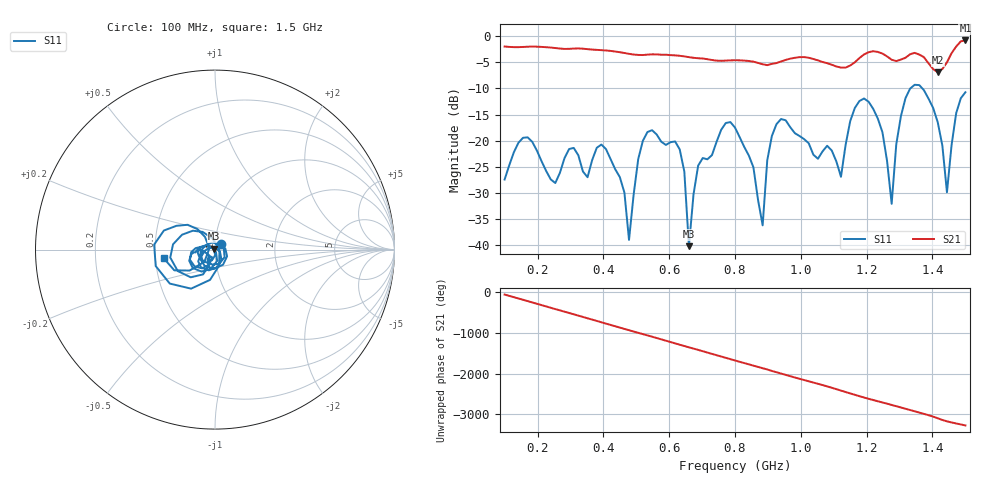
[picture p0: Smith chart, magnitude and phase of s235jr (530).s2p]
! NanoVNA-App
! Date: 2025-09-25 15:08:17
! Start: 100MHz Stop: 1,5GHz Points: 101
! S-Parameter data: F S11 S21 S12 S22
# Hz S RI R 50
!  Frequency  S11_Real  S11_Imag  S21_Real  S21_Imag  S12_Real  S12_Imag  S22_Real  S22_Imag
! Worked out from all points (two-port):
!   101 points, 100 MHz to 1.5 GHz, reference 50 ohm
!   highest |S21| = -0.80 dB at 1.5 GHz (marker M1); lowest = -6.9 dB at 1.416 GHz (marker M2)
!   |S21| within 3 dB of the highest: start of sweep to 638.8 MHz; 1.186 GHz to 1.26 GHz (74.83 MHz wide, 6.12 % of centre) (the widest 2 of 4)
!   lowest |S11| = -40.2 dB at 660 MHz (marker M3), VSWR 1.02, Z = 49.2 + j0.548 ohm
!   |S11| at or under -10 dB: start of sweep to 1.333 GHz; 1.369 GHz to end of sweep
!   S12 and S22 are empty: the file has one direction only
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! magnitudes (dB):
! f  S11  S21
! 100 MHz  -27.5  -2.0
! 156 MHz  -19.5  -2.0
! 338 MHz  -25.9  -2.4
! 408 MHz  -21.6  -2.7
! 478 MHz  -39.0  -3.4
! 520 MHz  -20.1  -3.6
! 576 MHz  -20.2  -3.5
! 632 MHz  -21.7  -3.7
! 660 MHz  -40.2  -4.0
! 688 MHz  -24.8  -4.2
! 800 MHz  -17.5  -4.6
! 884 MHz  -36.3  -5.4
! 926 MHz  -16.9  -5.1
! 1.038 GHz  -22.7  -4.4
! 1.122 GHz  -26.9  -6.0
! 1.192 GHz  -11.9  -3.5
! 1.248 GHz  -18.4  -3.3
! 1.276 GHz  -32.1  -4.5
! 1.332 GHz  -10.0  -3.5
! 1.416 GHz  -16.5  -6.9
! 1.444 GHz  -29.9  -5.0
! 1.5 GHz  -10.7  -0.8
